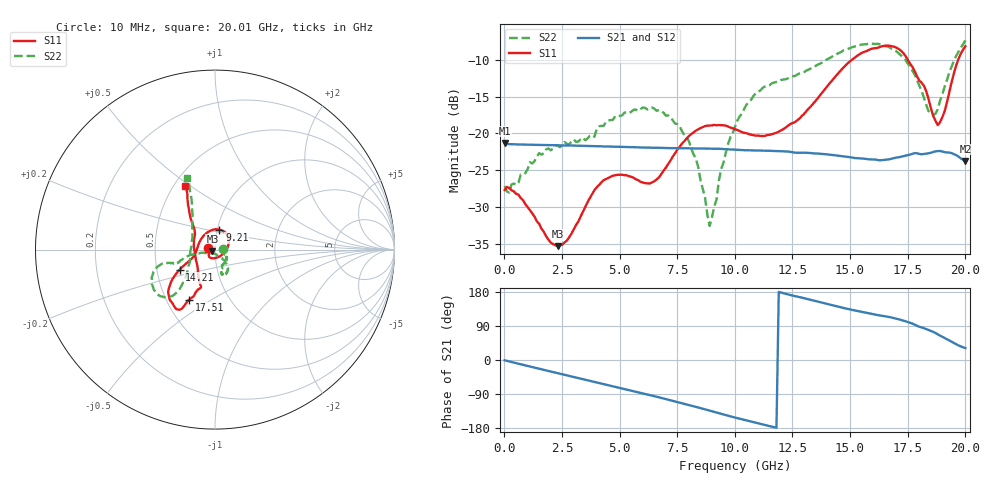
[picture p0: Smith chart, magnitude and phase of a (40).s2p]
! Hittite Microwave Corporation
! 2 Elizabeth Drive
! Chelmsford, MA 01824
! http://www.hittite.com
! Tel: 978-250-3343
! Fax: 978-250-3373
! Device:  HMC424LP3
! Description: 0.5 dB GaAs MMIC 6-Bit Digital Attenuator
! Frequency:  DC -  13.00 GHz
! Package:  LP3  - 3x3 mm Quad Flatpack No-Lead (QFN) Plastic Package: 16 pin
! Ports:  2 RF, 7 DC
!  Pad  1  = Ground
!  Pad  2  = RF IN  = Port 1
!  Pad  3  = Ground
!  Pad  4  = V6
!  Pad  5  = V5
!  Pad  6  = V4
!  Pad  7  = V3
!  Pad  8  = V2
!  Pad  9  = V1
!  Pad 10  = Ground
!  Pad 11  = RF OUT  = Port 2
!  Pad 12  = Ground
!  Pad 15  = VEE
! Control:  -5 Volt control voltage
! State:  38
! Attenuation:  19.0 dB
! Voltages:  Vdd = -5.00 Volts  Idd =  -2.399 mA
!  V1  = 0.00 Volts  I1  =  30.0 uA
!  V2  = -5.00 Volts  I2  =  -1.0 uA
!  V3  = -5.00 Volts  I3  =  -1.0 uA
!  V4  = 0.00 Volts  I4  =  30.0 uA
!  V5  = 0.00 Volts  I5  =  30.0 uA
!  V6  = -5.00 Volts  I6  =  -1.0 uA
! Data:  The device was measured on evaluation board 105354-1.
!  Data was collected using a calibrated network analyzer.
!  The evaluation circuit board was modeled and simulated.  This was use
!  to removed the evaluation board circuit from the measured data.
!  The reference plane is the edge of the package pin.
! Misc:  Lot xxxx, Unit 1
!  Application 20120001, Data collected in Application 20090083
! Date Measured:  2009-09-15
! Date:  2012-05-14  MJV
! Note:
!  Hittite supplies this data as a sample of measured data at the package pin
!  for this product.  Your particular data for this product may vary.
!  Data was taken at 25 degrees C.
!  Hittite reserves the right to change this data at anytime.
# GHz S MA R 50
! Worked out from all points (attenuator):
!   201 points, 10 MHz to 20.01 GHz, reference 50 ohm
!   highest |S21| = -21.32 dB at 10 MHz (marker M1); lowest = -23.7 dB at 20.01 GHz (marker M2)
!   lowest |S11| = -35.3 dB at 2.31 GHz (marker M3), VSWR 1.03, Z = 48.6 - j0.943 ohm
!   |S11| at or under -10 dB: start of sweep to 15.09 GHz; 17.51 GHz to 19.7 GHz (2.19 GHz wide, 11.8 % of centre)
!   |S22| runs from -32.6 to -7.4 dB; largest |S21 - S12| = 0.0027
!   S11 on the Smith chart (normalised r, x): 10 MHz: 0.92, +0.01; 9.21 GHz: 1.02, +0.23; 14.21 GHz: 0.66, -0.16; 17.51 GHz: 0.65, -0.40; 20.01 GHz: 0.57, +0.47
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0.01  0.04123 169.3  0.08592 -0.7  0.08564 -2.5  0.04391 7.3
0.61  0.03839 -173.0  0.08408 -9.7  0.08396 -9.7  0.04623 -19.5
1.51  0.02433 -153.2  0.08352 -23.1  0.0834 -23.1  0.07352 -29.5
2.31  0.01715 -145.5  0.08304 -34.8  0.08294 -34.7  0.08248 -35.8
3.41  0.02932 -152.8  0.08234 -50.8  0.08217 -50.8  0.09342 -54.1
4.71  0.0516 -129.1  0.08135 -69.6  0.0812 -69.6  0.1236 -74.3
6.71  0.05029 -28.5  0.07982 -98.5  0.07969 -98.5  0.1441 -63.4
8.01  0.09594 37.0  0.07912 -118.7  0.07898 -118.7  0.08841 -48.7
8.41  0.1066 50.4  0.07889 -125.2  0.07879 -125.2  0.05952 -49.5
8.91  0.1131 67.3  0.07882 -133.6  0.07877 -133.6  0.02354 -103.0
9.21  0.1134 77.6  0.07871 -138.6  0.07859 -138.7  0.03567 -148.9
9.41  0.1137 85.2  0.07857 -142.2  0.07847 -142.2  0.05748 -159.5
10.01  0.1068 107.6  0.07757 -151.8  0.0775 -151.8  0.1111 -168.8
11.21  0.09593 159.3  0.07642 -169.9  0.07619 -169.9  0.2035 -162.6
13.41  0.1595 -156.1  0.07319 156.8  0.07302 156.8  0.2797 -164.7
14.21  0.2272 -150.3  0.07144 144.7  0.07128 144.7  0.3306 -163.7
15.41  0.3445 -138.8  0.06771 128.4  0.06762 128.3  0.3977 -152.4
16.71  0.3942 -122.2  0.06671 113.4  0.06665 113.3  0.384 -136.0
17.51  0.316 -117.5  0.07111 100.2  0.07104 100.2  0.2982 -131.7
18.41  0.1713 -123.2  0.07328 79.1  0.07311 79.2  0.1418 -165.2
18.81  0.1138 -167.9  0.07585 67.7  0.07572 67.8  0.146 148.8
20.01  0.391 115.5  0.06506 31.5  0.06504 31.6  0.4277 111.3
